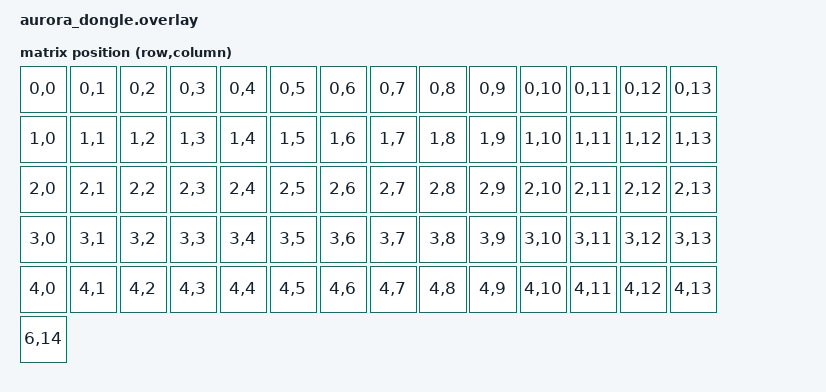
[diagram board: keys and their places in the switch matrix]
#include <dt-bindings/zmk/matrix_transform.h>

/ {
    chosen {
        zmk,kscan = &mock_kscan;
        zmk,physical-layout = &physical_layout0;
    };

    mock_kscan: mock_kscan_0 {
        compatible = "zmk,kscan-mock";
        columns = <0>;
        rows = <0>;
        events = <0>;
    };

    physical_layout0: physical_layout_0 {
        compatible = "zmk,physical-layout";
        display-name = "Default Layout";
        transform = <&default_transform>;
    };

    default_transform: keymap_transform_0 {
        compatible = "zmk,matrix-transform";
        rows = <6>;
        columns = <15>;
        // | Key 1  | Key 2  | Key 3  | Key 4  | Key 5  | Key 6  |                 | Key 1  | Key 2  | Key 3  | Key 4  | Key 5  | Key 6  | Key 7  | Key 8  |
        // | Key 7  | Key 8  | Key 9  | Key 10 | Key 11 | Key 12 |                 | Key 9  | Key 10 | Key 11 | Key 12 | Key 13 | Key 14 | Key 15 | Key 16 |
        // | Key 13 | Key 14 | Key 15 | Key 16 | Key 17 | Key 18 |                 | Key 17 | Key 18 | Key 19 | Key 20 | Key 21 | Key 22 |    -   | Key 23 |
        // | Key 19 | Key 20 | Key 21 | Key 22 | Key 23 | Key 24 |                 | Key 24 | Key 25 | Key 26 | Key 27 | Key 28 | Key 29 | Key 30 | Key 31 |
        // | Key 25 | Key 26 |    -   | Key 27 |    -   | Key 28 |                 | Key 32 | Key 33 | Key 34 | Key 35 |    -   | Key 36 | Key 37 | Key 38 |
        // | Rotary Encoder Click |
        map = <
            RC(0,0) RC(0,1) RC(0,2) RC(0,3) RC(0,4) RC(0,5)                 RC(0,6) RC(0,7) RC(0,8) RC(0,9) RC(0,10) RC(0,11) RC(0,12) RC(0,13)
            RC(1,0) RC(1,1) RC(1,2) RC(1,3) RC(1,4) RC(1,5)                 RC(1,6) RC(1,7) RC(1,8) RC(1,9) RC(1,10) RC(1,11) RC(1,12) RC(1,13)
            RC(2,0) RC(2,1) RC(2,2) RC(2,3) RC(2,4) RC(2,5)                 RC(2,6) RC(2,7) RC(2,8) RC(2,9) RC(2,10) RC(2,11) RC(2,12) RC(2,13)
            RC(3,0) RC(3,1) RC(3,2) RC(3,3) RC(3,4) RC(3,5)                 RC(3,6) RC(3,7) RC(3,8) RC(3,9) RC(3,10) RC(3,11) RC(3,12) RC(3,13)
            RC(4,0) RC(4,1) RC(4,2) RC(4,3) RC(4,4) RC(4,5)                 RC(4,6) RC(4,7) RC(4,8) RC(4,9) RC(4,10) RC(4,11) RC(4,12) RC(4,13)

            RC(6,14)
        >;
    };
};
